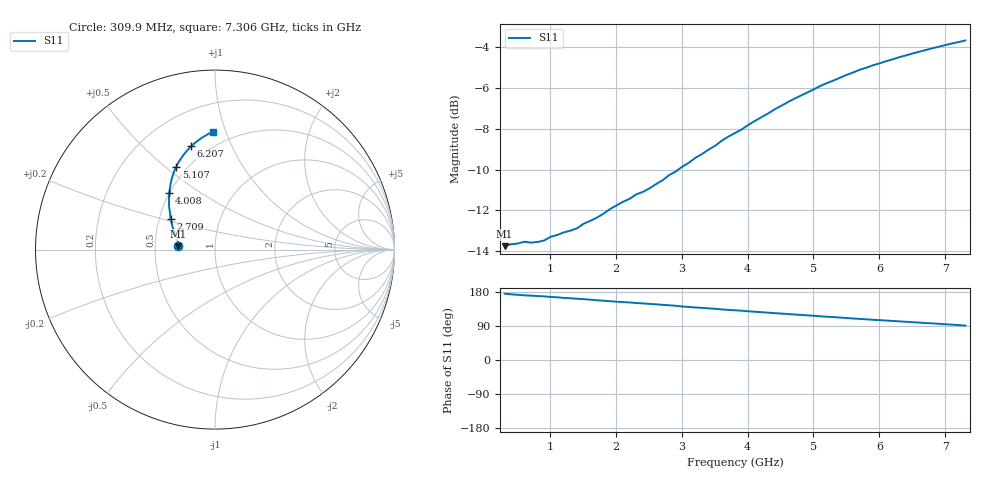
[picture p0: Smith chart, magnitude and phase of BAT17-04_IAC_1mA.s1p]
! Infineon Technologies  Discrete & RF Semiconductors
! BAT17-04
! IAC = 1 mA
! One-Port S-Parameters
# Hz  S  MA  R  50
!f  S11
!Hz  Mag  Ang
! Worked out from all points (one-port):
!   71 points, 309.9 MHz to 7.306 GHz, reference 50 ohm
!   lowest |S11| = -13.8 dB at 309.9 MHz (marker M1), VSWR 1.52, Z = 33 + j1.25 ohm
!   |S11| at or under -10 dB: start of sweep to 2.949 GHz
!   S11 on the Smith chart (normalised r, x): 309.9 MHz: 0.66, +0.02; 2.709 GHz: 0.58, +0.21; 4.008 GHz: 0.50, +0.38; 5.107 GHz: 0.44, +0.54; 6.207 GHz: 0.40, +0.71; 7.306 GHz: 0.39, +0.90
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3.0985e8  0.2049 174.9
6.097e8  0.2102 170.7
7.0965e8  0.2091 169.8
9.0955e8  0.2116 168.0
1.0095e9  0.2162 166.5
1.2094e9  0.2217 163.8
1.4093e9  0.2267 161.7
2.10895e9  0.2635 152.8
2.30885e9  0.2748 150.4
2.4088e9  0.2786 149.4
2.70865e9  0.2976 145.5
2.90855e9  0.3128 143.0
3.0085e9  0.3215 141.2
3.50825e9  0.3619 135.2
3.6082e9  0.3724 133.4
3.8081e9  0.3888 131.2
4.008e9  0.4068 128.6
4.4078e9  0.4444 123.7
4.70765e9  0.4719 120.2
5.0075e9  0.498 116.7
5.10745e9  0.5078 115.2
5.30735e9  0.5236 113.1
5.6072e9  0.5482 109.4
5.90705e9  0.5707 106.1
6.2069e9  0.5903 103.0
6.50675e9  0.6099 99.8
6.8066e9  0.6281 96.6
7.30635e9  0.6564 90.9
